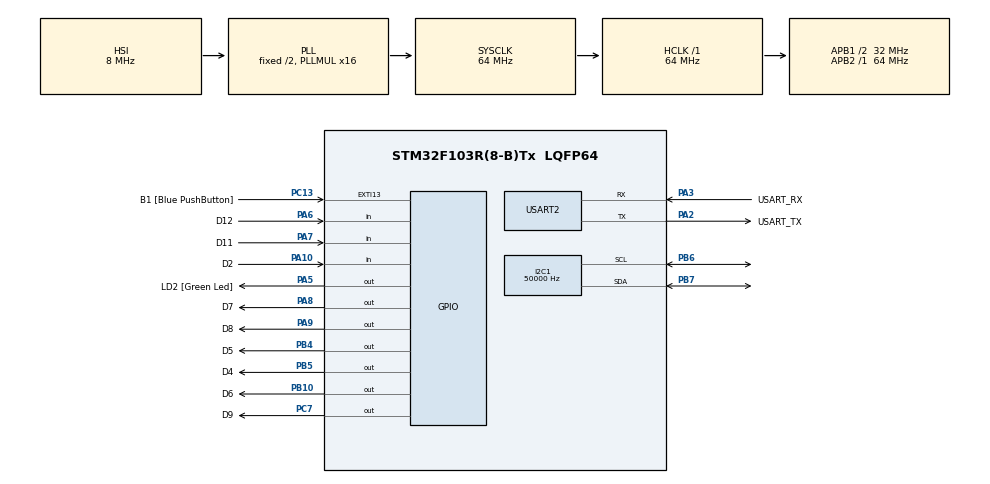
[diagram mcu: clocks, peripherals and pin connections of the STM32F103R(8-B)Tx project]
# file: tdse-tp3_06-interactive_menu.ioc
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I2C1.ClockSpeed=50000
Mcu.Family=STM32F1
Mcu.Name=STM32F103R(8-B)Tx
Mcu.Package=LQFP64
NVIC.EXTI15_10_IRQn=true\:0\:0\:false\:false\:true\:true\:true\:true
NVIC.PriorityGroup=NVIC_PRIORITYGROUP_4
PA10.GPIO_Label=D2
PA10.GPIO_PuPd=GPIO_PULLUP
PA10.Signal=GPIO_Input
PA13.GPIO_Label=TMS
PA13.Mode=Serial_Wire
PA13.Signal=SYS_JTMS-SWDIO
PA14.GPIO_Label=TCK
PA14.Mode=Serial_Wire
PA14.Signal=SYS_JTCK-SWCLK
PA2.GPIO_Label=USART_TX
PA2.GPIO_Mode=GPIO_MODE_AF_PP
PA2.GPIO_PuPd=GPIO_NOPULL
PA2.GPIO_Speed=GPIO_SPEED_FREQ_LOW
PA2.Mode=Asynchronous
PA2.Signal=USART2_TX
PA3.GPIO_Label=USART_RX
PA3.GPIO_Mode=GPIO_MODE_AF_PP
PA3.GPIO_PuPd=GPIO_NOPULL
PA3.GPIO_Speed=GPIO_SPEED_FREQ_LOW
PA3.Mode=Asynchronous
PA3.Signal=USART2_RX
PA5.GPIO_Label=LD2 [Green Led]
PA5.GPIO_ModeDefaultOutputPP=GPIO_MODE_OUTPUT_PP
PA5.GPIO_PuPd=GPIO_NOPULL
PA5.GPIO_Speed=GPIO_SPEED_FREQ_LOW
PA5.Signal=GPIO_Output
PA6.GPIO_Label=D12
PA6.GPIO_PuPd=GPIO_PULLUP
PA6.Signal=GPIO_Input
PA7.GPIO_Label=D11
PA7.GPIO_PuPd=GPIO_PULLUP
PA7.Signal=GPIO_Input
PA8.GPIO_Label=D7
PA8.GPIO_PuPd=GPIO_PULLUP
PA8.Signal=GPIO_Output
PA9.GPIO_Label=D8
PA9.GPIO_PuPd=GPIO_PULLUP
PA9.Signal=GPIO_Output
PB10.GPIO_Label=D6
PB10.GPIO_PuPd=GPIO_PULLUP
PB10.Signal=GPIO_Output
PB3.GPIO_Label=SWO
PB3.Signal=SYS_JTDO-TRACESWO
PB4.GPIO_Label=D5
PB4.GPIO_PuPd=GPIO_PULLUP
PB4.Signal=GPIO_Output
PB5.GPIO_Label=D4
PB5.GPIO_PuPd=GPIO_PULLUP
PB5.Signal=GPIO_Output
PB6.Mode=I2C
PB6.Signal=I2C1_SCL
PB7.Mode=I2C
PB7.Signal=I2C1_SDA
PC13-TAMPER-RTC.GPIO_Label=B1 [Blue PushButton]
PC13-TAMPER-RTC.GPIO_PuPd=GPIO_NOPULL
PC13-TAMPER-RTC.Signal=GPXTI13
PC14-OSC32_IN.Mode=LSE-External-Oscillator
PC14-OSC32_IN.Signal=RCC_OSC32_IN
PC15-OSC32_OUT.Mode=LSE-External-Oscillator
PC15-OSC32_OUT.Signal=RCC_OSC32_OUT
PC7.GPIO_Label=D9
PC7.GPIO_PuPd=GPIO_PULLUP
PC7.Signal=GPIO_Output
PD0-OSC_IN.Mode=HSE-External-Clock-Source
PD0-OSC_IN.Signal=RCC_OSC_IN
PD1-OSC_OUT.Mode=HSE-External-Clock-Source
PD1-OSC_OUT.Signal=RCC_OSC_OUT
ProjectManager.HeapSize=0x200
ProjectManager.StackSize=0x400
ProjectManager.TargetToolchain=STM32CubeIDE
RCC.AHBFreq_Value=64000000
RCC.APB1CLKDivider=RCC_HCLK_DIV2
RCC.APB1Freq_Value=32000000
RCC.APB1TimFreq_Value=64000000
RCC.APB2Freq_Value=64000000
RCC.APB2TimFreq_Value=64000000
RCC.HCLKFreq_Value=64000000
RCC.PLLMUL=RCC_PLL_MUL16
RCC.RTCClockSelection=RCC_RTCCLKSOURCE_LSE
RCC.SYSCLKFreq_VALUE=64000000
RCC.SYSCLKSource=RCC_SYSCLKSOURCE_PLLCLK
RCC.USBFreq_Value=64000000
USART2.VirtualMode=VM_ASYNC
board=NUCLEO-F103RB

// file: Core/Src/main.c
/* USER CODE BEGIN Header */
/**
  ******************************************************************************
  * @file           : main.c
  * @brief          : Main program body
  ******************************************************************************
  * @attention
  *
  * Copyright (c) 2025 STMicroelectronics.
  * All rights reserved.
  *
  * This software is licensed under terms that can be found in the LICENSE file
  * in the root directory of this software component.
  * If no LICENSE file comes with this software, it is provided AS-IS.
  *
  ******************************************************************************
  */
/* USER CODE END Header */
#include "main.h"

/* USER CODE BEGIN Includes */

/* Demo includes. */
#include "logger.h"
#include "dwt.h"

/* Application includes. */
#include "app.h"

/* USER CODE END Includes */

/* USER CODE BEGIN PM */
#define MPU6050_ADDR     (0x68 << 1)
#define WHO_AM_I_REG     0x75
/* USER CODE END PM */

I2C_HandleTypeDef hi2c1;

UART_HandleTypeDef huart2;

void SystemClock_Config(void);
static void MX_GPIO_Init(void);
static void MX_USART2_UART_Init(void);
static void MX_I2C1_Init(void);

/* USER CODE BEGIN 0 */
extern void initialise_monitor_handles(void);

/* USER CODE END 0 */

int main(void)
{

  /* USER CODE BEGIN 1 */
	initialise_monitor_handles();

  /* USER CODE END 1 */

  /* MCU Configuration--------------------------------------------------------*/

  /* Reset of all peripherals, Initializes the Flash interface and the Systick. */
  HAL_Init();

  /* Configure the system clock */
  SystemClock_Config();

  /* Initialize all configured peripherals */
  MX_GPIO_Init();
  MX_USART2_UART_Init();
  MX_I2C1_Init();
  /* USER CODE BEGIN 2 */
  uint8_t who_am_i = 0;

  HAL_StatusTypeDef status = HAL_I2C_Mem_Read(&hi2c1, MPU6050_ADDR, WHO_AM_I_REG, 1, &who_am_i, 1, HAL_MAX_DELAY);

  if (status == HAL_OK) {
      printf("Lectura OK. WHO_AM_I = 0x%02X\n", who_am_i);
  } else {
      printf("Error leyendo WHO_AM_I\n");
  }

  printf("Escaneando bus I2C...\n");
  for (uint8_t addr = 1; addr < 127; addr++) {
      if (HAL_I2C_IsDeviceReady(&hi2c1, addr << 1, 1, 10) == HAL_OK) {
          printf("Dispositivo detectado en 0x%02X\n", addr);
      }
  }
  printf("Escaneo finalizado.\n");

	/* Application Init */
	app_init();

  /* USER CODE END 2 */

  /* Infinite loop */
  while (1)
  {

    /* USER CODE BEGIN 3 */

	  /* Application Update */
	  app_update();
  }
  /* USER CODE END 3 */
}

void SystemClock_Config(void)
{
  RCC_OscInitTypeDef RCC_OscInitStruct = {0};
  RCC_ClkInitTypeDef RCC_ClkInitStruct = {0};

  /** Initializes the RCC Oscillators according to the specified parameters
  * in the RCC_OscInitTypeDef structure.
  */
  RCC_OscInitStruct.OscillatorType = RCC_OSCILLATORTYPE_HSI;
  RCC_OscInitStruct.HSIState = RCC_HSI_ON;
  RCC_OscInitStruct.HSICalibrationValue = RCC_HSICALIBRATION_DEFAULT;
  RCC_OscInitStruct.PLL.PLLState = RCC_PLL_ON;
  RCC_OscInitStruct.PLL.PLLSource = RCC_PLLSOURCE_HSI_DIV2;
  RCC_OscInitStruct.PLL.PLLMUL = RCC_PLL_MUL16;
  if (HAL_RCC_OscConfig(&RCC_OscInitStruct) != HAL_OK)
  {
    Error_Handler();
  }

  /** Initializes the CPU, AHB and APB buses clocks
  */
  RCC_ClkInitStruct.ClockType = RCC_CLOCKTYPE_HCLK|RCC_CLOCKTYPE_SYSCLK
                              |RCC_CLOCKTYPE_PCLK1|RCC_CLOCKTYPE_PCLK2;
  RCC_ClkInitStruct.SYSCLKSource = RCC_SYSCLKSOURCE_PLLCLK;
  RCC_ClkInitStruct.AHBCLKDivider = RCC_SYSCLK_DIV1;
  RCC_ClkInitStruct.APB1CLKDivider = RCC_HCLK_DIV2;
  RCC_ClkInitStruct.APB2CLKDivider = RCC_HCLK_DIV1;

  if (HAL_RCC_ClockConfig(&RCC_ClkInitStruct, FLASH_LATENCY_2) != HAL_OK)
  {
    Error_Handler();
  }
}

static void MX_I2C1_Init(void)
{

  hi2c1.Instance = I2C1;
  hi2c1.Init.ClockSpeed = 50000;
  hi2c1.Init.DutyCycle = I2C_DUTYCYCLE_2;
  hi2c1.Init.OwnAddress1 = 0;
  hi2c1.Init.AddressingMode = I2C_ADDRESSINGMODE_7BIT;
  hi2c1.Init.DualAddressMode = I2C_DUALADDRESS_DISABLE;
  hi2c1.Init.OwnAddress2 = 0;
  hi2c1.Init.GeneralCallMode = I2C_GENERALCALL_DISABLE;
  hi2c1.Init.NoStretchMode = I2C_NOSTRETCH_DISABLE;
  if (HAL_I2C_Init(&hi2c1) != HAL_OK)
  {
    Error_Handler();
  }

}

static void MX_USART2_UART_Init(void)
{

  huart2.Instance = USART2;
  huart2.Init.BaudRate = 115200;
  huart2.Init.WordLength = UART_WORDLENGTH_8B;
  huart2.Init.StopBits = UART_STOPBITS_1;
  huart2.Init.Parity = UART_PARITY_NONE;
  huart2.Init.Mode = UART_MODE_TX_RX;
  huart2.Init.HwFlowCtl = UART_HWCONTROL_NONE;
  huart2.Init.OverSampling = UART_OVERSAMPLING_16;
  if (HAL_UART_Init(&huart2) != HAL_OK)
  {
    Error_Handler();
  }

}

static void MX_GPIO_Init(void)
{
  GPIO_InitTypeDef GPIO_InitStruct = {0};

  /* GPIO Ports Clock Enable */
  __HAL_RCC_GPIOC_CLK_ENABLE();
  __HAL_RCC_GPIOD_CLK_ENABLE();
  __HAL_RCC_GPIOA_CLK_ENABLE();
  __HAL_RCC_GPIOB_CLK_ENABLE();

  /*Configure GPIO pin Output Level */
  HAL_GPIO_WritePin(GPIOA, LD2_Pin|D7_Pin|D8_Pin, GPIO_PIN_RESET);

  /*Configure GPIO pin Output Level */
  HAL_GPIO_WritePin(GPIOB, D6_Pin|D5_Pin|D4_Pin, GPIO_PIN_RESET);

  /*Configure GPIO pin Output Level */
  HAL_GPIO_WritePin(D9_GPIO_Port, D9_Pin, GPIO_PIN_RESET);

  /*Configure GPIO pin : B1_Pin */
  GPIO_InitStruct.Pin = B1_Pin;
  GPIO_InitStruct.Mode = GPIO_MODE_IT_RISING;
  GPIO_InitStruct.Pull = GPIO_NOPULL;
  HAL_GPIO_Init(B1_GPIO_Port, &GPIO_InitStruct);

  /*Configure GPIO pin : LD2_Pin */
  GPIO_InitStruct.Pin = LD2_Pin;
  GPIO_InitStruct.Mode = GPIO_MODE_OUTPUT_PP;
  GPIO_InitStruct.Pull = GPIO_NOPULL;
  GPIO_InitStruct.Speed = GPIO_SPEED_FREQ_LOW;
  HAL_GPIO_Init(LD2_GPIO_Port, &GPIO_InitStruct);

  /*Configure GPIO pins : D12_Pin D11_Pin D2_Pin */
  GPIO_InitStruct.Pin = D12_Pin|D11_Pin|D2_Pin;
  GPIO_InitStruct.Mode = GPIO_MODE_INPUT;
  GPIO_InitStruct.Pull = GPIO_PULLUP;
  HAL_GPIO_Init(GPIOA, &GPIO_InitStruct);

  /*Configure GPIO pins : D6_Pin D5_Pin D4_Pin */
  GPIO_InitStruct.Pin = D6_Pin|D5_Pin|D4_Pin;
  GPIO_InitStruct.Mode = GPIO_MODE_OUTPUT_PP;
  GPIO_InitStruct.Pull = GPIO_PULLUP;
  GPIO_InitStruct.Speed = GPIO_SPEED_FREQ_LOW;
  HAL_GPIO_Init(GPIOB, &GPIO_InitStruct);

  /*Configure GPIO pin : D9_Pin */
  GPIO_InitStruct.Pin = D9_Pin;
  GPIO_InitStruct.Mode = GPIO_MODE_OUTPUT_PP;
  GPIO_InitStruct.Pull = GPIO_PULLUP;
  GPIO_InitStruct.Speed = GPIO_SPEED_FREQ_LOW;
  HAL_GPIO_Init(D9_GPIO_Port, &GPIO_InitStruct);

  /*Configure GPIO pins : D7_Pin D8_Pin */
  GPIO_InitStruct.Pin = D7_Pin|D8_Pin;
  GPIO_InitStruct.Mode = GPIO_MODE_OUTPUT_PP;
  GPIO_InitStruct.Pull = GPIO_PULLUP;
  GPIO_InitStruct.Speed = GPIO_SPEED_FREQ_LOW;
  HAL_GPIO_Init(GPIOA, &GPIO_InitStruct);

  /* EXTI interrupt init*/
  HAL_NVIC_SetPriority(EXTI15_10_IRQn, 0, 0);
  HAL_NVIC_EnableIRQ(EXTI15_10_IRQn);

}

void Error_Handler(void)
{
  __disable_irq();
  while (1)
  {
  }
}
